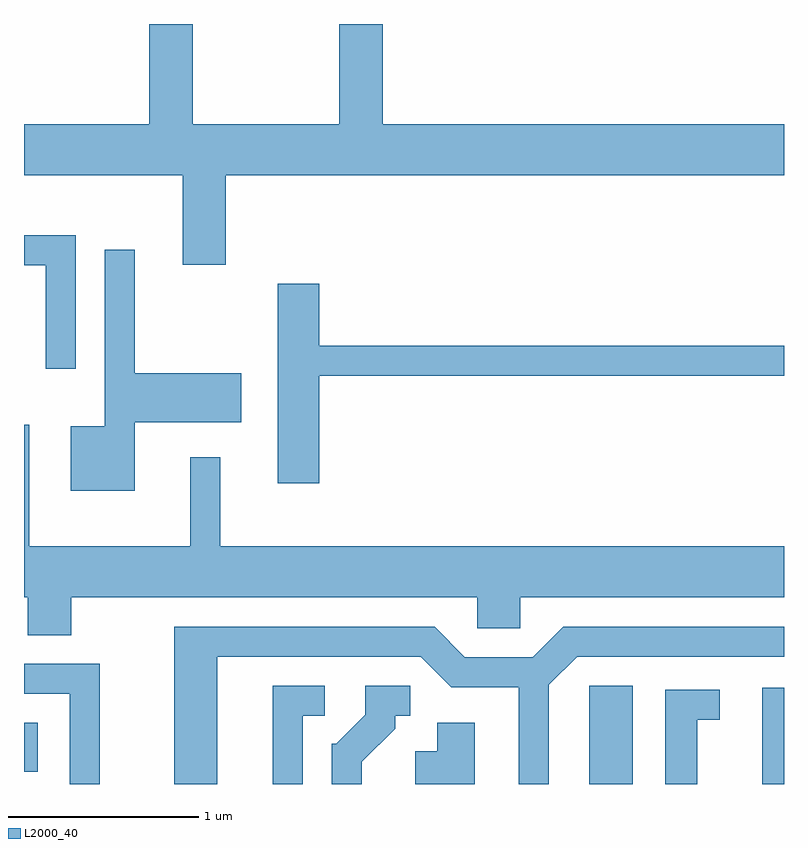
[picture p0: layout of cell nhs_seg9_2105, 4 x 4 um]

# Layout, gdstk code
import gdstk
lib = gdstk.Library(unit=1e-6, precision=1e-09)
def R(c, l, rs):  # rectangles x0, y0, x1, y1
    for r in rs: c.add(gdstk.rectangle(r[:2], r[2:], *l))
def P(c, l, *ps):  # polygons
    for p in ps: c.add(gdstk.Polygon(p, *l))
L2000_40 = (2000, 40)

nhs_seg9_2105 = lib.new_cell('nhs_seg9_2105')
R(nhs_seg9_2105, L2000_40, [(250.586,1946.432,250.814,1946.949), (251.496,1946.432,251.611,1946.939), (247.611,1946.496,247.684,1946.754)])
P(nhs_seg9_2105, L2000_40, [(251.611,1949.904),(249.499,1949.904),(249.499,1950.432),(249.271,1950.432),(249.271,1949.904),(248.499,1949.904),(248.499,1950.432),(248.271,1950.432),(248.271,1949.904),(247.611,1949.904),(247.611,1949.636),(248.446,1949.636),(248.446,1949.166),(248.674,1949.166),(248.674,1949.636),(251.611,1949.636)],
  [(247.884,1949.319),(247.611,1949.319),(247.611,1949.161),(247.726,1949.161),(247.726,1948.618),(247.884,1948.618)],
  [(248.194,1948.336),(248.754,1948.336),(248.754,1948.594),(248.194,1948.594),(248.194,1949.243),(248.036,1949.243),(248.036,1948.314),(247.856,1948.314),(247.856,1947.976),(248.194,1947.976)],
  [(249.164,1948.581),(251.611,1948.581),(251.611,1948.739),(249.164,1948.739),(249.164,1949.064),(248.946,1949.064),(248.946,1948.016),(249.164,1948.016)],
  [(247.859,1947.416),(249.996,1947.416),(249.996,1947.251),(250.224,1947.251),(250.224,1947.416),(251.611,1947.416),(251.611,1947.684),(248.644,1947.684),(248.644,1948.153),(248.486,1948.153),(248.486,1947.684),(247.639,1947.684),(247.639,1948.323),(247.611,1948.323),(247.611,1947.416),(247.631,1947.416),(247.631,1947.216),(247.859,1947.216)],
  [(248.629,1947.101),(249.699,1947.101),(249.859,1946.941),(250.216,1946.941),(250.216,1946.432),(250.374,1946.432),(250.374,1946.954),(250.522,1947.101),(251.611,1947.101),(251.611,1947.259),(250.449,1947.259),(250.289,1947.099),(249.932,1947.099),(249.772,1947.259),(248.401,1947.259),(248.401,1946.432),(248.629,1946.432)],
  [(248.009,1947.064),(247.611,1947.064),(247.611,1946.906),(247.851,1946.906),(247.851,1946.432),(248.009,1946.432)],
  [(249.389,1946.549),(249.564,1946.724),(249.564,1946.791),(249.643,1946.791),(249.643,1946.949),(249.406,1946.949),(249.406,1946.797),(249.254,1946.644),(249.231,1946.644),(249.231,1946.432),(249.389,1946.432)],
  [(249.079,1946.791),(249.193,1946.791),(249.193,1946.949),(248.921,1946.949),(248.921,1946.432),(249.079,1946.432)],
  [(251.154,1946.771),(251.273,1946.771),(251.273,1946.929),(250.986,1946.929),(250.986,1946.432),(251.154,1946.432)],
  [(249.984,1946.754),(249.786,1946.754),(249.786,1946.604),(249.671,1946.604),(249.671,1946.432),(249.984,1946.432)])

lib.write_gds('nhs_seg9_2105.gds')
